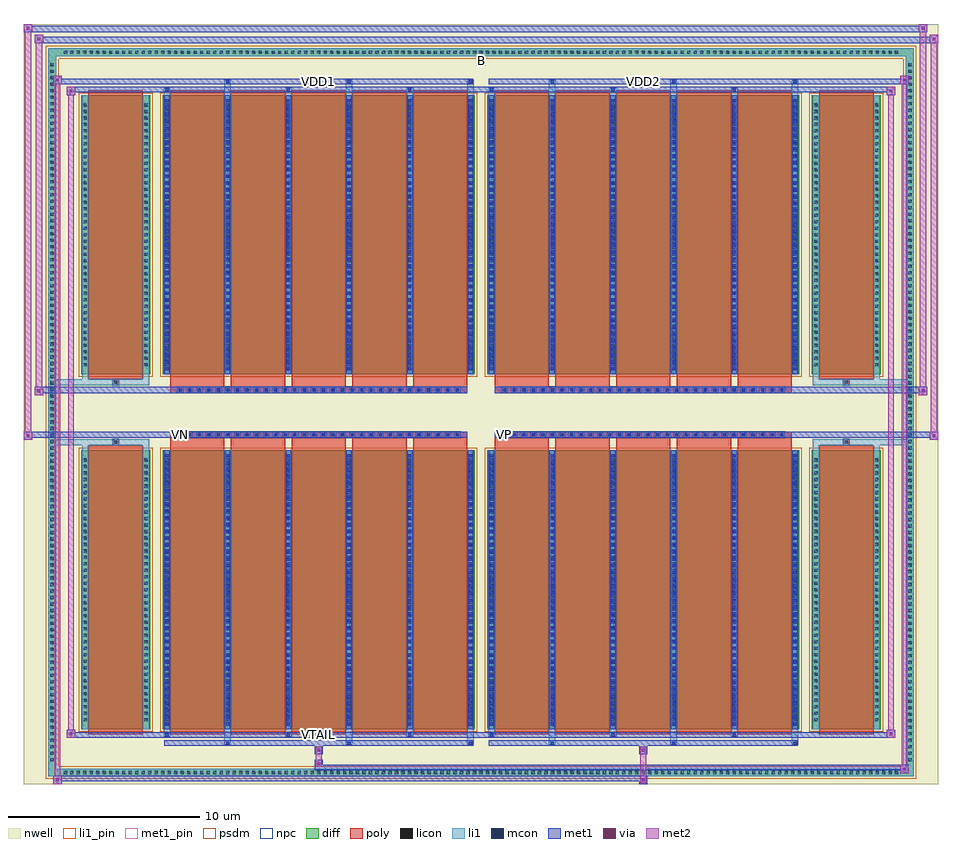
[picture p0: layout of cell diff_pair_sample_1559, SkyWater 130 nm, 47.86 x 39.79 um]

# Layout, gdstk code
import gdstk
lib = gdstk.Library(unit=1e-6, precision=5e-09)
def R(c, l, rs):  # rectangles x0, y0, x1, y1
    for r in rs: c.add(gdstk.rectangle(r[:2], r[2:], *l))
def A(c, l, x, y, w, h, nx, ny, dx, dy):  # array of equal rectangles
    R(c, l, [(x+i*dx, y+j*dy, x+i*dx+w, y+j*dy+h) for i in range(nx) for j in range(ny)])
def P(c, l, *ps):  # polygons
    for p in ps: c.add(gdstk.Polygon(p, *l))
nwell = (64, 20)
diff = (65, 20)
poly = (66, 20)
licon = (66, 44)
li1_pin = (67, 16)
li1 = (67, 20)
mcon = (67, 44)
met1_pin = (68, 16)
met1 = (68, 20)
via = (68, 44)
met2 = (69, 20)
psdm = (94, 20)
npc = (95, 20)

diff_pair_sample_1559 = lib.new_cell('diff_pair_sample_1559')
R(diff_pair_sample_1559, nwell, [(-23.93,-19.46,23.93,20.33), (-21.25,-17.65,-0.01,-0.805), (0.01,-17.65,21.25,-0.805), (-21.25,0.805,-0.01,17.65), (0.01,0.805,21.25,17.65)])
A(diff_pair_sample_1559, diff, -21.965, -19.06, 0.41, 0.41, 129, 2, 0.34, 37.71)
A(diff_pair_sample_1559, diff, -22.66, -18.395, 0.41, 0.41, 1, 108, 0, 0.34)
A(diff_pair_sample_1559, diff, 22.25, -18.395, 0.41, 0.41, 1, 108, 0, 0.34)
R(diff_pair_sample_1559, diff, [(-21.965,-19.06,21.965,-18.65), (-22.66,-18.395,-22.25,18.395), (22.25,-18.395,22.66,18.395), (-20.94,-16.605,-17.31,-1.985), (-16.67,-16.605,-0.32,-1.985), (0.32,-16.605,16.67,-1.985), (17.31,-16.605,20.94,-1.985), (-20.94,1.985,-17.31,16.605), (-16.67,1.985,-0.32,16.605), (0.32,1.985,16.67,16.605), (17.31,1.985,20.94,16.605), (-21.965,18.65,21.965,19.06)])
P(diff_pair_sample_1559, diff, [(22.66,19.06),(-22.66,19.06),(-22.66,-18.65),(-22.25,-18.65),(-22.25,18.65),(22.25,18.65),(22.25,-18.65),(-22.25,-18.65),(-22.66,-18.65),(-22.66,-19.06),(22.66,-19.06)])
A(diff_pair_sample_1559, poly, -16.28, -16.855, 2.85, 15.12, 5, 2, 3.18, 18.59)
A(diff_pair_sample_1559, poly, 0.71, -16.855, 2.85, 15.12, 5, 2, 3.18, 18.59)
A(diff_pair_sample_1559, poly, -16.28, -1.735, 2.85, 0.4, 5, 2, 3.18, 3.07)
A(diff_pair_sample_1559, poly, 0.71, -1.735, 2.85, 0.4, 5, 2, 3.18, 3.07)
A(diff_pair_sample_1559, poly, -15.91, -1.335, 0.33, 0.33, 30, 2, 0.5, 2.34)
A(diff_pair_sample_1559, poly, 1.08, -1.335, 0.33, 0.33, 30, 2, 0.5, 2.34)
R(diff_pair_sample_1559, poly, [(-20.55,-16.855,-17.7,-1.735), (17.7,-16.855,20.55,-1.735), (-19.29,-1.735,-18.96,-1.405), (-19.29,-1.735,-18.96,-1.405), (18.96,-1.735,19.29,-1.405), (18.96,-1.735,19.29,-1.405), (-16.28,-1.335,-0.71,-1.005), (0.71,-1.335,16.28,-1.005), (-16.28,1.005,-0.71,1.335), (0.71,1.005,16.28,1.335), (-19.29,1.405,-18.96,1.735), (-19.29,1.405,-18.96,1.735), (18.96,1.405,19.29,1.735), (18.96,1.405,19.29,1.735), (-20.55,1.735,-17.7,16.855), (17.7,1.735,20.55,16.855)])
A(diff_pair_sample_1559, licon, -21.845, -18.94, 0.17, 0.17, 129, 2, 0.34, 37.71)
A(diff_pair_sample_1559, licon, -22.54, -18.275, 0.17, 0.17, 1, 108, 0, 0.34)
A(diff_pair_sample_1559, licon, 22.37, -18.275, 0.17, 0.17, 1, 108, 0, 0.34)
A(diff_pair_sample_1559, licon, -20.8, -16.18, 0.17, 0.17, 1, 41, 0, 0.34)
A(diff_pair_sample_1559, licon, -17.62, -16.18, 0.17, 0.17, 1, 41, 0, 0.34)
A(diff_pair_sample_1559, licon, -16.53, -16.18, 0.17, 0.17, 6, 41, 3.18, 0.34)
A(diff_pair_sample_1559, licon, 0.46, -16.18, 0.17, 0.17, 6, 41, 3.18, 0.34)
A(diff_pair_sample_1559, licon, 17.45, -16.18, 0.17, 0.17, 1, 41, 0, 0.34)
A(diff_pair_sample_1559, licon, 20.63, -16.18, 0.17, 0.17, 1, 41, 0, 0.34)
A(diff_pair_sample_1559, licon, -15.83, -1.255, 0.17, 0.17, 30, 2, 0.5, 2.34)
A(diff_pair_sample_1559, licon, 1.16, -1.255, 0.17, 0.17, 30, 2, 0.5, 2.34)
A(diff_pair_sample_1559, licon, -20.8, 2.41, 0.17, 0.17, 1, 41, 0, 0.34)
A(diff_pair_sample_1559, licon, -17.62, 2.41, 0.17, 0.17, 1, 41, 0, 0.34)
A(diff_pair_sample_1559, licon, -16.53, 2.41, 0.17, 0.17, 6, 41, 3.18, 0.34)
A(diff_pair_sample_1559, licon, 0.46, 2.41, 0.17, 0.17, 6, 41, 3.18, 0.34)
A(diff_pair_sample_1559, licon, 17.45, 2.41, 0.17, 0.17, 1, 41, 0, 0.34)
A(diff_pair_sample_1559, licon, 20.63, 2.41, 0.17, 0.17, 1, 41, 0, 0.34)
R(diff_pair_sample_1559, licon, [(-19.21,-1.655,-19.04,-1.485), (19.04,-1.655,19.21,-1.485), (-19.21,1.485,-19.04,1.655), (19.04,1.485,19.21,1.655)])
R(diff_pair_sample_1559, li1_pin, [(-0.25,18.15,0.25,18.65)])
A(diff_pair_sample_1559, li1, -21.925, -19.02, 0.33, 0.33, 129, 2, 0.34, 37.71)
A(diff_pair_sample_1559, li1, -22.62, -18.355, 0.33, 0.33, 1, 108, 0, 0.34)
A(diff_pair_sample_1559, li1, 22.29, -18.355, 0.33, 0.33, 1, 108, 0, 0.34)
A(diff_pair_sample_1559, li1, -13.43, -17.41, 0.33, 0.805, 3, 2, 6.36, 34.015)
A(diff_pair_sample_1559, li1, -13.35, -17.41, 0.17, 0.17, 3, 2, 6.36, 34.65)
A(diff_pair_sample_1559, li1, 3.56, -17.41, 0.33, 0.805, 3, 2, 6.36, 34.015)
A(diff_pair_sample_1559, li1, 3.64, -17.41, 0.17, 0.17, 3, 2, 6.36, 34.65)
A(diff_pair_sample_1559, li1, -16.61, -16.98, 0.33, 0.375, 3, 2, 6.36, 33.585)
A(diff_pair_sample_1559, li1, -16.53, -16.98, 0.17, 0.17, 3, 2, 6.36, 33.79)
A(diff_pair_sample_1559, li1, 0.38, -16.98, 0.33, 0.375, 3, 2, 6.36, 33.585)
A(diff_pair_sample_1559, li1, 0.46, -16.98, 0.17, 0.17, 3, 2, 6.36, 33.79)
A(diff_pair_sample_1559, li1, -16.61, -16.605, 0.33, 14.62, 6, 2, 3.18, 18.59)
A(diff_pair_sample_1559, li1, 0.38, -16.605, 0.33, 14.62, 6, 2, 3.18, 18.59)
A(diff_pair_sample_1559, li1, -16.53, -16.4, 0.17, 0.17, 6, 40, 3.18, 0.36)
A(diff_pair_sample_1559, li1, -16.53, -16.4, 0.17, 14.21, 6, 2, 3.18, 18.59)
A(diff_pair_sample_1559, li1, 0.46, -16.4, 0.17, 0.17, 6, 40, 3.18, 0.36)
A(diff_pair_sample_1559, li1, 0.46, -16.4, 0.17, 14.21, 6, 2, 3.18, 18.59)
A(diff_pair_sample_1559, li1, -20.88, -16.26, 0.33, 0.33, 1, 41, 0, 0.34)
A(diff_pair_sample_1559, li1, -17.7, -16.26, 0.33, 0.33, 1, 41, 0, 0.34)
A(diff_pair_sample_1559, li1, -16.61, -16.26, 0.33, 0.33, 6, 41, 3.18, 0.34)
A(diff_pair_sample_1559, li1, 0.38, -16.26, 0.33, 0.33, 6, 41, 3.18, 0.34)
A(diff_pair_sample_1559, li1, 17.37, -16.26, 0.33, 0.33, 1, 41, 0, 0.34)
A(diff_pair_sample_1559, li1, 20.55, -16.26, 0.33, 0.33, 1, 41, 0, 0.34)
A(diff_pair_sample_1559, li1, -15.91, -1.335, 0.33, 0.33, 30, 2, 0.5, 2.34)
A(diff_pair_sample_1559, li1, 1.08, -1.335, 0.33, 0.33, 30, 2, 0.5, 2.34)
A(diff_pair_sample_1559, li1, -16.53, 2.19, 0.17, 0.17, 6, 40, 3.18, 0.36)
A(diff_pair_sample_1559, li1, 0.46, 2.19, 0.17, 0.17, 6, 40, 3.18, 0.36)
A(diff_pair_sample_1559, li1, -20.88, 2.33, 0.33, 0.33, 1, 41, 0, 0.34)
A(diff_pair_sample_1559, li1, -17.7, 2.33, 0.33, 0.33, 1, 41, 0, 0.34)
A(diff_pair_sample_1559, li1, -16.61, 2.33, 0.33, 0.33, 6, 41, 3.18, 0.34)
A(diff_pair_sample_1559, li1, 0.38, 2.33, 0.33, 0.33, 6, 41, 3.18, 0.34)
A(diff_pair_sample_1559, li1, 17.37, 2.33, 0.33, 0.33, 1, 41, 0, 0.34)
A(diff_pair_sample_1559, li1, 20.55, 2.33, 0.33, 0.33, 1, 41, 0, 0.34)
R(diff_pair_sample_1559, li1, [(-22.66,-19.06,-22.25,-18.65), (-22.66,-19.06,-22.25,-18.65), (-22.25,-19.06,22.25,-18.65), (22.25,-19.06,22.66,-18.65), (22.25,-19.06,22.66,-18.65), (-22.66,-18.65,-22.25,18.65), (22.25,-18.65,22.66,18.65), (-20.88,-16.605,-20.55,-1.985), (-17.7,-16.605,-17.37,-1.985), (17.37,-16.605,17.7,-1.985), (20.55,-16.605,20.88,-1.985), (-20.88,-1.985,-20.55,-1.405), (-17.7,-1.985,-17.37,-1.405), (17.37,-1.985,17.7,-1.405), (20.55,-1.985,20.88,-1.405), (-22.66,-1.735,-19.29,-1.405), (-20.88,-1.735,-19.29,-1.405), (-19.29,-1.735,-18.96,-1.405), (-18.96,-1.735,-17.37,-1.405), (17.37,-1.735,18.96,-1.405), (18.96,-1.735,19.29,-1.405), (18.96,-1.735,22.66,-1.405), (19.29,-1.735,20.88,-1.405), (-22.66,1.405,-19.29,1.735), (-20.88,1.405,-19.29,1.735), (-20.88,1.405,-20.55,1.985), (-19.29,1.405,-18.96,1.735), (-18.96,1.405,-17.37,1.735), (-17.7,1.405,-17.37,1.985), (17.37,1.405,18.96,1.735), (17.37,1.405,17.7,1.985), (18.96,1.405,19.29,1.735), (18.96,1.405,22.66,1.735), (19.29,1.405,20.88,1.735), (20.55,1.405,20.88,1.985), (-20.88,1.985,-20.55,16.605), (-17.7,1.985,-17.37,16.605), (17.37,1.985,17.7,16.605), (20.55,1.985,20.88,16.605), (-22.66,18.65,-22.25,19.06), (-22.66,18.65,-22.25,19.06), (-22.25,18.65,22.25,19.06), (22.25,18.65,22.66,19.06), (22.25,18.65,22.66,19.06)])
A(diff_pair_sample_1559, mcon, -13.35, -17.41, 0.17, 0.17, 3, 2, 6.36, 34.65)
A(diff_pair_sample_1559, mcon, 3.64, -17.41, 0.17, 0.17, 3, 2, 6.36, 34.65)
A(diff_pair_sample_1559, mcon, -16.53, -16.98, 0.17, 0.17, 3, 2, 6.36, 33.79)
A(diff_pair_sample_1559, mcon, 0.46, -16.98, 0.17, 0.17, 3, 2, 6.36, 33.79)
A(diff_pair_sample_1559, mcon, -16.53, -16.4, 0.17, 0.17, 6, 40, 3.18, 0.36)
A(diff_pair_sample_1559, mcon, 0.46, -16.4, 0.17, 0.17, 6, 40, 3.18, 0.36)
A(diff_pair_sample_1559, mcon, -15.83, -1.255, 0.17, 0.17, 30, 2, 0.5, 2.34)
A(diff_pair_sample_1559, mcon, 1.16, -1.255, 0.17, 0.17, 30, 2, 0.5, 2.34)
A(diff_pair_sample_1559, mcon, -16.53, 2.19, 0.17, 0.17, 6, 40, 3.18, 0.36)
A(diff_pair_sample_1559, mcon, 0.46, 2.19, 0.17, 0.17, 6, 40, 3.18, 0.36)
R(diff_pair_sample_1559, met1_pin, [(-8.63,-17.02,-8.36,-16.75), (-15.88,-1.295,-15.61,-1.025), (1.11,-1.295,1.38,-1.025), (-8.63,17.2,-8.36,17.47), (8.36,17.2,8.63,17.47)])
A(diff_pair_sample_1559, met1, -13.41, -17.47, 0.29, 0.29, 3, 2, 6.36, 34.65)
A(diff_pair_sample_1559, met1, 3.58, -17.47, 0.29, 0.29, 3, 2, 6.36, 34.65)
A(diff_pair_sample_1559, met1, -16.59, -17.04, 0.29, 0.29, 3, 2, 6.36, 33.79)
A(diff_pair_sample_1559, met1, 0.4, -17.04, 0.29, 0.29, 3, 2, 6.36, 33.79)
A(diff_pair_sample_1559, met1, -16.59, -16.605, 0.29, 14.62, 6, 2, 3.18, 18.59)
A(diff_pair_sample_1559, met1, 0.4, -16.605, 0.29, 14.62, 6, 2, 3.18, 18.59)
A(diff_pair_sample_1559, met1, -16.59, -16.46, 0.29, 0.29, 6, 40, 3.18, 0.36)
A(diff_pair_sample_1559, met1, 0.4, -16.46, 0.29, 0.29, 6, 40, 3.18, 0.36)
A(diff_pair_sample_1559, met1, -15.89, -1.315, 0.29, 0.29, 30, 2, 0.5, 2.34)
A(diff_pair_sample_1559, met1, 1.1, -1.315, 0.29, 0.29, 30, 2, 0.5, 2.34)
A(diff_pair_sample_1559, met1, -16.59, 2.13, 0.29, 0.29, 6, 40, 3.18, 0.36)
A(diff_pair_sample_1559, met1, 0.4, 2.13, 0.29, 0.29, 6, 40, 3.18, 0.36)
R(diff_pair_sample_1559, met1, [(-22.39,-19.46,-21.96,-19.03), (8.28,-19.46,8.71,-19.03), (-22.39,-19.32,8.71,-19.03), (21.96,-18.89,22.39,-18.46), (-8.71,-18.75,22.39,-18.46), (-8.71,-18.61,-8.28,-18.18), (-8.71,-17.9,-8.28,-17.47), (8.28,-17.9,8.71,-17.47), (-16.59,-17.47,-0.4,-17.18), (0.4,-17.47,16.59,-17.18), (-21.68,-17.04,-21.25,-16.61), (-21.68,-17.04,-16.59,-16.75), (-16.59,-17.04,-0.4,-16.75), (-0.4,-17.04,0.4,-16.75), (0.4,-17.04,16.59,-16.75), (16.59,-17.04,21.68,-16.75), (21.25,-17.04,21.68,-16.61), (-23.93,-1.435,-23.5,-1.005), (23.5,-1.435,23.93,-1.005), (-23.93,-1.335,-0.71,-1.005), (-16.28,-1.335,-0.71,-1.005), (0.71,-1.335,16.28,-1.005), (0.71,-1.335,23.93,-1.005), (-23.36,0.905,-22.93,1.335), (22.93,0.905,23.36,1.335), (-23.36,1.005,-16.28,1.335), (-16.28,1.005,-0.71,1.335), (0.71,1.005,16.28,1.335), (16.28,1.005,23.36,1.335), (-21.68,16.61,-21.25,17.04), (21.25,16.61,21.68,17.04), (-21.68,16.75,-16.59,17.04), (-16.59,16.75,-0.4,17.04), (-0.4,16.75,0.4,17.04), (0.4,16.75,16.59,17.04), (16.59,16.75,21.68,17.04), (-22.39,17.18,-21.96,17.61), (-22.39,17.18,-16.59,17.47), (-16.59,17.18,-0.4,17.47), (0.4,17.18,16.59,17.47), (16.59,17.18,22.39,17.47), (21.96,17.18,22.39,17.61), (-23.36,19.33,-22.93,19.76), (-23.36,19.33,-21.25,19.66), (-21.25,19.33,21.25,19.66), (21.25,19.33,23.93,19.66), (23.5,19.33,23.93,19.76), (-23.93,19.9,-23.5,20.33), (-23.93,19.9,-21.25,20.23), (-21.25,19.9,21.25,20.23), (21.25,19.9,23.36,20.23), (22.93,19.9,23.36,20.33)])
R(diff_pair_sample_1559, via, [(-22.25,-19.32,-22.1,-19.17), (8.42,-19.32,8.57,-19.17), (22.1,-18.75,22.25,-18.6), (-8.57,-18.47,-8.42,-18.32), (-8.57,-17.76,-8.42,-17.61), (8.42,-17.76,8.57,-17.61), (-21.54,-16.9,-21.39,-16.75), (21.39,-16.9,21.54,-16.75), (-23.79,-1.295,-23.64,-1.145), (23.64,-1.295,23.79,-1.145), (-23.22,1.045,-23.07,1.195), (23.07,1.045,23.22,1.195), (-21.54,16.75,-21.39,16.9), (21.39,16.75,21.54,16.9), (-22.25,17.32,-22.1,17.47), (22.1,17.32,22.25,17.47), (-23.22,19.47,-23.07,19.62), (23.64,19.47,23.79,19.62), (-23.79,20.04,-23.64,20.19), (23.07,20.04,23.22,20.19)])
R(diff_pair_sample_1559, met2, [(-22.39,-19.46,-21.96,-19.03), (-22.32,-19.46,-22.03,17.61), (-22.03,-19.46,-21.96,-19.03), (-22.34,-19.41,-22.01,-19.08), (8.33,-19.41,8.66,-19.08), (8.33,-19.08,8.66,-17.85), (21.96,-18.89,22.39,-18.46), (22.03,-18.89,22.32,17.61), (22.32,-18.89,22.39,-18.46), (22.01,-18.84,22.34,-18.51), (-8.66,-18.56,-8.33,-18.23), (-8.66,-18.23,-8.33,-17.85), (-8.66,-17.85,-8.33,-17.52), (8.33,-17.85,8.66,-17.52), (-21.68,-17.04,-21.25,-16.61), (-21.61,-17.04,-21.32,17.04), (-21.32,-17.04,-21.25,-16.61), (21.25,-17.04,21.68,-16.61), (21.32,-17.04,21.61,17.04), (21.61,-17.04,21.68,-16.61), (-21.63,-16.99,-21.3,-16.66), (21.3,-16.99,21.63,-16.66), (-23.93,-1.435,-23.5,-1.005), (-23.88,-1.435,-23.55,20.33), (-23.55,-1.435,-23.5,-1.005), (23.5,-1.435,23.93,-1.005), (23.55,-1.435,23.88,19.76), (23.88,-1.435,23.93,-1.005), (-23.88,-1.385,-23.55,-1.055), (23.55,-1.385,23.88,-1.055), (-23.36,0.905,-22.93,1.335), (-23.31,0.905,-22.98,19.76), (-22.98,0.905,-22.93,1.335), (22.93,0.905,23.36,1.335), (22.98,0.905,23.31,20.33), (23.31,0.905,23.36,1.335), (-23.31,0.955,-22.98,1.285), (22.98,0.955,23.31,1.285), (-21.68,16.61,-21.25,17.04), (-21.32,16.61,-21.25,17.04), (21.25,16.61,21.68,17.04), (21.61,16.61,21.68,17.04), (-21.63,16.66,-21.3,16.99), (21.3,16.66,21.63,16.99), (-22.39,17.18,-21.96,17.61), (-22.03,17.18,-21.96,17.61), (21.96,17.18,22.39,17.61), (22.32,17.18,22.39,17.61), (-22.34,17.23,-22.01,17.56), (22.01,17.23,22.34,17.56), (-23.36,19.33,-22.93,19.76), (-22.98,19.33,-22.93,19.76), (23.5,19.33,23.93,19.76), (23.88,19.33,23.93,19.76), (-23.31,19.38,-22.98,19.71), (23.55,19.38,23.88,19.71), (-23.93,19.9,-23.5,20.33), (-23.55,19.9,-23.5,20.33), (22.93,19.9,23.36,20.33), (23.31,19.9,23.36,20.33), (-23.88,19.95,-23.55,20.28), (22.98,19.95,23.31,20.28)])
R(diff_pair_sample_1559, psdm, [(-21.07,-16.735,-17.18,-1.855), (-16.8,-16.735,-0.19,-1.855), (0.19,-16.735,16.8,-1.855), (17.18,-16.735,21.07,-1.855), (-21.07,1.855,-17.18,16.735), (-16.8,1.855,-0.19,16.735), (0.19,1.855,16.8,16.735), (17.18,1.855,21.07,16.735)])
P(diff_pair_sample_1559, psdm, [(22.79,19.19),(-22.79,19.19),(-22.79,-18.52),(-22.12,-18.52),(-22.12,18.52),(22.12,18.52),(22.12,-18.52),(-22.12,-18.52),(-22.79,-18.52),(-22.79,-19.19),(22.79,-19.19)])
A(diff_pair_sample_1559, npc, -15.93, -1.355, 0.37, 0.37, 30, 2, 0.5, 2.34)
A(diff_pair_sample_1559, npc, 1.06, -1.355, 0.37, 0.37, 30, 2, 0.5, 2.34)
R(diff_pair_sample_1559, npc, [(-19.31,-1.755,-18.94,-1.385), (18.94,-1.755,19.31,-1.385), (-15.93,-1.355,-15.06,-0.985), (-15.93,-1.355,-15.06,-0.985), (-15.43,-1.355,-14.56,-0.985), (-15.43,-1.355,-14.56,-0.985), (-14.93,-1.355,-14.06,-0.985), (-14.93,-1.355,-14.06,-0.985), (-14.43,-1.355,-13.56,-0.985), (-14.43,-1.355,-13.56,-0.985), (-13.93,-1.355,-13.06,-0.985), (-13.93,-1.355,-13.06,-0.985), (-13.43,-1.355,-12.56,-0.985), (-13.43,-1.355,-12.56,-0.985), (-12.93,-1.355,-12.06,-0.985), (-12.93,-1.355,-12.06,-0.985), (-12.43,-1.355,-11.56,-0.985), (-12.43,-1.355,-11.56,-0.985), (-11.93,-1.355,-11.06,-0.985), (-11.93,-1.355,-11.06,-0.985), (-11.43,-1.355,-10.56,-0.985), (-11.43,-1.355,-10.56,-0.985), (-10.93,-1.355,-10.06,-0.985), (-10.93,-1.355,-10.06,-0.985), (-10.43,-1.355,-9.56,-0.985), (-10.43,-1.355,-9.56,-0.985), (-9.93,-1.355,-9.06,-0.985), (-9.93,-1.355,-9.06,-0.985), (-9.43,-1.355,-8.56,-0.985), (-9.43,-1.355,-8.56,-0.985), (-8.93,-1.355,-8.06,-0.985), (-8.93,-1.355,-8.06,-0.985), (-8.43,-1.355,-7.56,-0.985), (-8.43,-1.355,-7.56,-0.985), (-7.93,-1.355,-7.06,-0.985), (-7.93,-1.355,-7.06,-0.985), (-7.43,-1.355,-6.56,-0.985), (-7.43,-1.355,-6.56,-0.985), (-6.93,-1.355,-6.06,-0.985), (-6.93,-1.355,-6.06,-0.985), (-6.43,-1.355,-5.56,-0.985), (-6.43,-1.355,-5.56,-0.985), (-5.93,-1.355,-5.06,-0.985), (-5.93,-1.355,-5.06,-0.985), (-5.43,-1.355,-4.56,-0.985), (-5.43,-1.355,-4.56,-0.985), (-4.93,-1.355,-4.06,-0.985), (-4.93,-1.355,-4.06,-0.985), (-4.43,-1.355,-3.56,-0.985), (-4.43,-1.355,-3.56,-0.985), (-3.93,-1.355,-3.06,-0.985), (-3.93,-1.355,-3.06,-0.985), (-3.43,-1.355,-2.56,-0.985), (-3.43,-1.355,-2.56,-0.985), (-2.93,-1.355,-2.06,-0.985), (-2.93,-1.355,-2.06,-0.985), (-2.43,-1.355,-1.56,-0.985), (-2.43,-1.355,-1.56,-0.985), (-1.93,-1.355,-1.06,-0.985), (-1.93,-1.355,-1.06,-0.985), (1.06,-1.355,1.93,-0.985), (1.06,-1.355,1.93,-0.985), (1.56,-1.355,2.43,-0.985), (1.56,-1.355,2.43,-0.985), (2.06,-1.355,2.93,-0.985), (2.06,-1.355,2.93,-0.985), (2.56,-1.355,3.43,-0.985), (2.56,-1.355,3.43,-0.985), (3.06,-1.355,3.93,-0.985), (3.06,-1.355,3.93,-0.985), (3.56,-1.355,4.43,-0.985), (3.56,-1.355,4.43,-0.985), (4.06,-1.355,4.93,-0.985), (4.06,-1.355,4.93,-0.985), (4.56,-1.355,5.43,-0.985), (4.56,-1.355,5.43,-0.985), (5.06,-1.355,5.93,-0.985), (5.06,-1.355,5.93,-0.985), (5.56,-1.355,6.43,-0.985), (5.56,-1.355,6.43,-0.985), (6.06,-1.355,6.93,-0.985), (6.06,-1.355,6.93,-0.985), (6.56,-1.355,7.43,-0.985), (6.56,-1.355,7.43,-0.985), (7.06,-1.355,7.93,-0.985), (7.06,-1.355,7.93,-0.985), (7.56,-1.355,8.43,-0.985), (7.56,-1.355,8.43,-0.985), (8.06,-1.355,8.93,-0.985), (8.06,-1.355,8.93,-0.985), (8.56,-1.355,9.43,-0.985), (8.56,-1.355,9.43,-0.985), (9.06,-1.355,9.93,-0.985), (9.06,-1.355,9.93,-0.985), (9.56,-1.355,10.43,-0.985), (9.56,-1.355,10.43,-0.985), (10.06,-1.355,10.93,-0.985), (10.06,-1.355,10.93,-0.985), (10.56,-1.355,11.43,-0.985), (10.56,-1.355,11.43,-0.985), (11.06,-1.355,11.93,-0.985), (11.06,-1.355,11.93,-0.985), (11.56,-1.355,12.43,-0.985), (11.56,-1.355,12.43,-0.985), (12.06,-1.355,12.93,-0.985), (12.06,-1.355,12.93,-0.985), (12.56,-1.355,13.43,-0.985), (12.56,-1.355,13.43,-0.985), (13.06,-1.355,13.93,-0.985), (13.06,-1.355,13.93,-0.985), (13.56,-1.355,14.43,-0.985), (13.56,-1.355,14.43,-0.985), (14.06,-1.355,14.93,-0.985), (14.06,-1.355,14.93,-0.985), (14.56,-1.355,15.43,-0.985), (14.56,-1.355,15.43,-0.985), (15.06,-1.355,15.93,-0.985), (15.06,-1.355,15.93,-0.985), (-15.93,0.985,-15.06,1.355), (-15.93,0.985,-15.06,1.355), (-15.43,0.985,-14.56,1.355), (-15.43,0.985,-14.56,1.355), (-14.93,0.985,-14.06,1.355), (-14.93,0.985,-14.06,1.355), (-14.43,0.985,-13.56,1.355), (-14.43,0.985,-13.56,1.355), (-13.93,0.985,-13.06,1.355), (-13.93,0.985,-13.06,1.355), (-13.43,0.985,-12.56,1.355), (-13.43,0.985,-12.56,1.355), (-12.93,0.985,-12.06,1.355), (-12.93,0.985,-12.06,1.355), (-12.43,0.985,-11.56,1.355), (-12.43,0.985,-11.56,1.355), (-11.93,0.985,-11.06,1.355), (-11.93,0.985,-11.06,1.355), (-11.43,0.985,-10.56,1.355), (-11.43,0.985,-10.56,1.355), (-10.93,0.985,-10.06,1.355), (-10.93,0.985,-10.06,1.355), (-10.43,0.985,-9.56,1.355), (-10.43,0.985,-9.56,1.355), (-9.93,0.985,-9.06,1.355), (-9.93,0.985,-9.06,1.355), (-9.43,0.985,-8.56,1.355), (-9.43,0.985,-8.56,1.355), (-8.93,0.985,-8.06,1.355), (-8.93,0.985,-8.06,1.355), (-8.43,0.985,-7.56,1.355), (-8.43,0.985,-7.56,1.355), (-7.93,0.985,-7.06,1.355), (-7.93,0.985,-7.06,1.355), (-7.43,0.985,-6.56,1.355), (-7.43,0.985,-6.56,1.355), (-6.93,0.985,-6.06,1.355), (-6.93,0.985,-6.06,1.355), (-6.43,0.985,-5.56,1.355), (-6.43,0.985,-5.56,1.355), (-5.93,0.985,-5.06,1.355), (-5.93,0.985,-5.06,1.355), (-5.43,0.985,-4.56,1.355), (-5.43,0.985,-4.56,1.355), (-4.93,0.985,-4.06,1.355), (-4.93,0.985,-4.06,1.355), (-4.43,0.985,-3.56,1.355), (-4.43,0.985,-3.56,1.355), (-3.93,0.985,-3.06,1.355), (-3.93,0.985,-3.06,1.355), (-3.43,0.985,-2.56,1.355), (-3.43,0.985,-2.56,1.355), (-2.93,0.985,-2.06,1.355), (-2.93,0.985,-2.06,1.355), (-2.43,0.985,-1.56,1.355), (-2.43,0.985,-1.56,1.355), (-1.93,0.985,-1.06,1.355), (-1.93,0.985,-1.06,1.355), (1.06,0.985,1.93,1.355), (1.06,0.985,1.93,1.355), (1.56,0.985,2.43,1.355), (1.56,0.985,2.43,1.355), (2.06,0.985,2.93,1.355), (2.06,0.985,2.93,1.355), (2.56,0.985,3.43,1.355), (2.56,0.985,3.43,1.355), (3.06,0.985,3.93,1.355), (3.06,0.985,3.93,1.355), (3.56,0.985,4.43,1.355), (3.56,0.985,4.43,1.355), (4.06,0.985,4.93,1.355), (4.06,0.985,4.93,1.355), (4.56,0.985,5.43,1.355), (4.56,0.985,5.43,1.355), (5.06,0.985,5.93,1.355), (5.06,0.985,5.93,1.355), (5.56,0.985,6.43,1.355), (5.56,0.985,6.43,1.355), (6.06,0.985,6.93,1.355), (6.06,0.985,6.93,1.355), (6.56,0.985,7.43,1.355), (6.56,0.985,7.43,1.355), (7.06,0.985,7.93,1.355), (7.06,0.985,7.93,1.355), (7.56,0.985,8.43,1.355), (7.56,0.985,8.43,1.355), (8.06,0.985,8.93,1.355), (8.06,0.985,8.93,1.355), (8.56,0.985,9.43,1.355), (8.56,0.985,9.43,1.355), (9.06,0.985,9.93,1.355), (9.06,0.985,9.93,1.355), (9.56,0.985,10.43,1.355), (9.56,0.985,10.43,1.355), (10.06,0.985,10.93,1.355), (10.06,0.985,10.93,1.355), (10.56,0.985,11.43,1.355), (10.56,0.985,11.43,1.355), (11.06,0.985,11.93,1.355), (11.06,0.985,11.93,1.355), (11.56,0.985,12.43,1.355), (11.56,0.985,12.43,1.355), (12.06,0.985,12.93,1.355), (12.06,0.985,12.93,1.355), (12.56,0.985,13.43,1.355), (12.56,0.985,13.43,1.355), (13.06,0.985,13.93,1.355), (13.06,0.985,13.93,1.355), (13.56,0.985,14.43,1.355), (13.56,0.985,14.43,1.355), (14.06,0.985,14.93,1.355), (14.06,0.985,14.93,1.355), (14.56,0.985,15.43,1.355), (14.56,0.985,15.43,1.355), (15.06,0.985,15.93,1.355), (15.06,0.985,15.93,1.355), (-19.31,1.385,-18.94,1.755), (18.94,1.385,19.31,1.755)])
diff_pair_sample_1559.add(gdstk.Label('VTAIL', (-8.495,-16.885), layer=68, texttype=5))
diff_pair_sample_1559.add(gdstk.Label('VN', (-15.745,-1.16), layer=68, texttype=5))
diff_pair_sample_1559.add(gdstk.Label('VP', (1.245,-1.16), layer=68, texttype=5))
diff_pair_sample_1559.add(gdstk.Label('B', (0,18.4), layer=67, texttype=5))
diff_pair_sample_1559.add(gdstk.Label('VDD2', (8.495,17.335), layer=68, texttype=5))
diff_pair_sample_1559.add(gdstk.Label('VDD1', (-8.495,17.335), layer=68, texttype=5))

lib.write_gds('diff_pair_sample_1559.gds')
